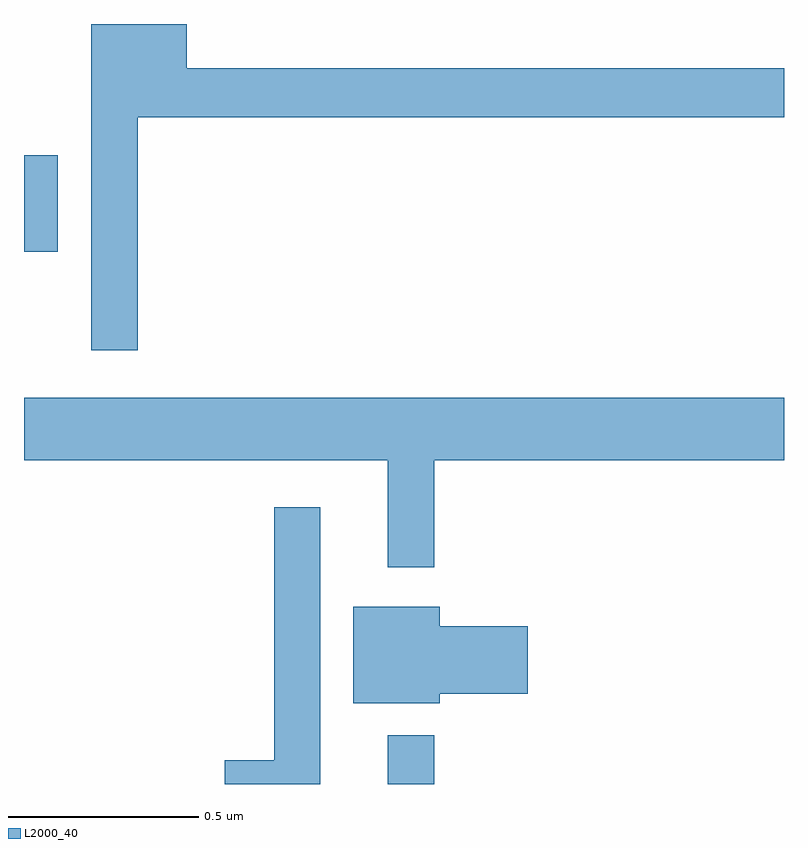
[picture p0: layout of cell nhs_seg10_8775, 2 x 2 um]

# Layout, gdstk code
import gdstk
lib = gdstk.Library(unit=1e-6, precision=1e-09)
def R(c, l, rs):  # rectangles x0, y0, x1, y1
    for r in rs: c.add(gdstk.rectangle(r[:2], r[2:], *l))
def P(c, l, *ps):  # polygons
    for p in ps: c.add(gdstk.Polygon(p, *l))
L2000_40 = (2000, 40)

nhs_seg10_8775 = lib.new_cell('nhs_seg10_8775')
R(nhs_seg10_8775, L2000_40, [(221.957,1263.5,222.079,1263.628), (221,1264.901,221.089,1265.155)])
P(nhs_seg10_8775, L2000_40, [(221.299,1265.254),(223,1265.254),(223,1265.383),(221.428,1265.383),(221.428,1265.5),(221.177,1265.5),(221.177,1264.641),(221.299,1264.641)],
  [(222.079,1264.352),(223,1264.352),(223,1264.516),(221,1264.516),(221,1264.352),(221.957,1264.352),(221.957,1264.071),(222.079,1264.071)],
  [(221.779,1264.228),(221.658,1264.228),(221.658,1263.562),(221.528,1263.562),(221.528,1263.5),(221.779,1263.5)],
  [(222.094,1263.737),(222.325,1263.737),(222.325,1263.915),(222.094,1263.915),(222.094,1263.967),(221.867,1263.967),(221.867,1263.713),(222.094,1263.713)])

lib.write_gds('nhs_seg10_8775.gds')
